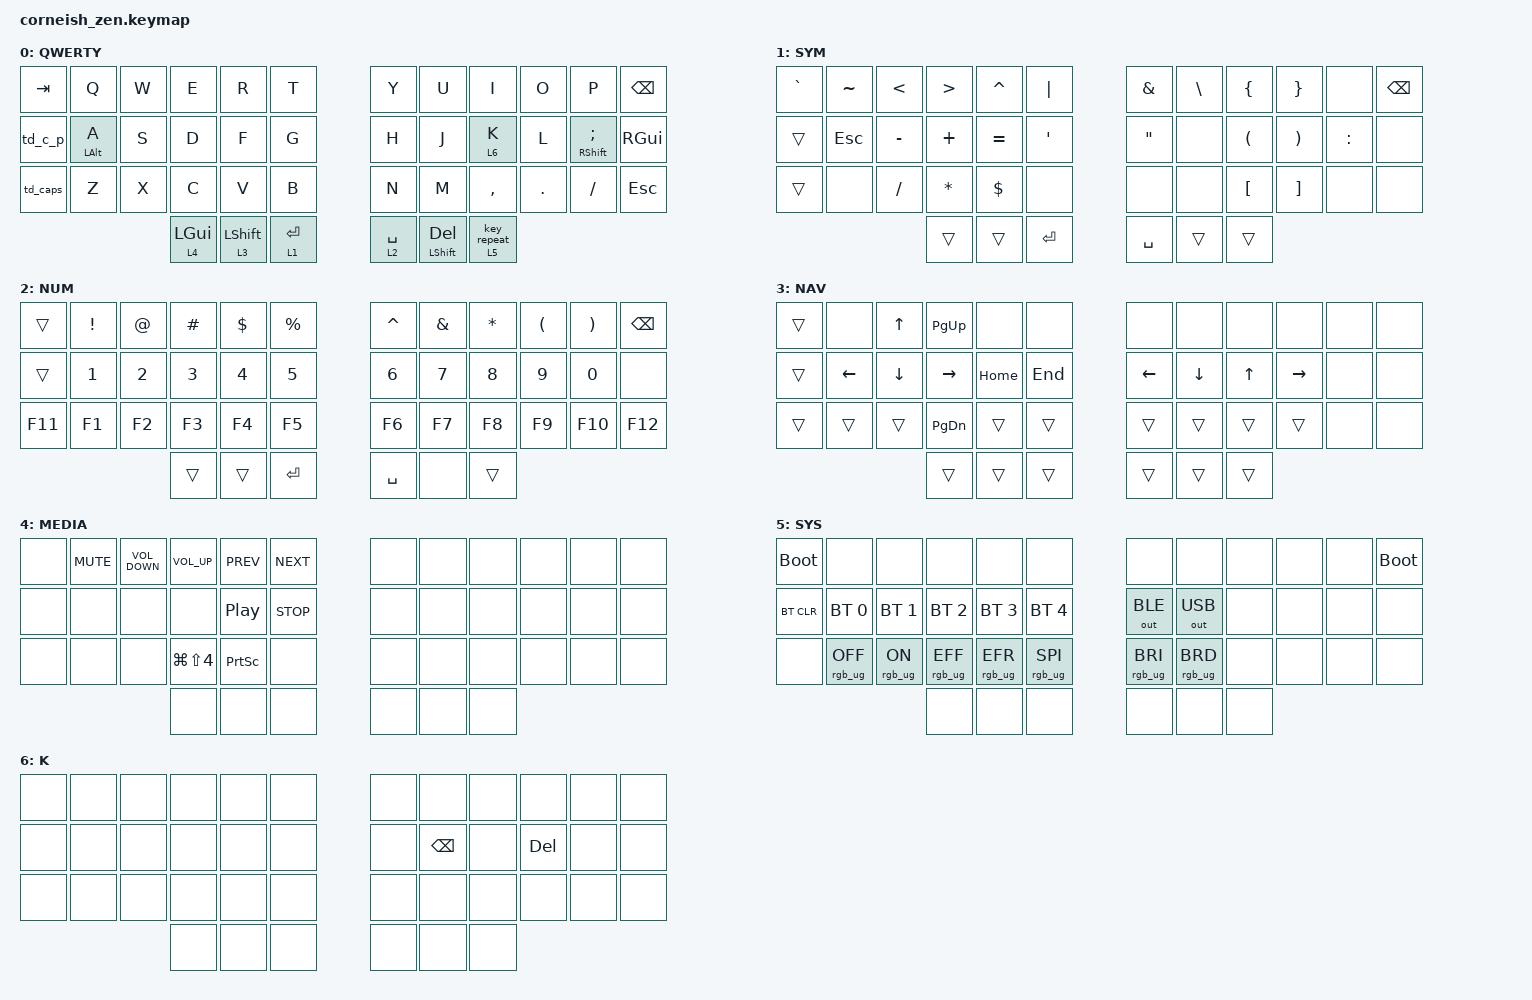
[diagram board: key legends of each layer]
/*
 * Copyright (c) 2020 The ZMK Contributors
 *
 * SPDX-License-Identifier: MIT
 */

#include <behaviors.dtsi>
#include <dt-bindings/zmk/bt.h>
#include <dt-bindings/zmk/keys.h>
#include <dt-bindings/zmk/outputs.h>
#include <dt-bindings/zmk/rgb.h>

/ {
    chosen {
        zmk,matrix_transform = &default_transform;

        // zmk,matrix_transform = &five_column_transform;
    };
};

/ {
    behaviors {
        td_caps: td_caps {
            compatible = "zmk,behavior-tap-dance";
            label = "TD_CAPS";
            #binding-cells = <0>;
            bindings = <&kp LSHIFT>, <&snake_caps_word>, <&kp CAPS>;
        };

        td_c_p: td_c_p {
            compatible = "zmk,behavior-tap-dance";
            label = "TD_C_P";
            #binding-cells = <0>;
            bindings = <&mt LCTRL ESC>, <&kp LG(C)>, <&kp LG(V)>;
        };

        snake_caps_word: snake_caps_word {
            compatible = "zmk,behavior-caps-word";
            label = "SNAKE_CAPS_WORD";
            #binding-cells = <0>;
            continue-list = <UNDER MINUS SPACE DELETE BACKSPACE>;
        };

        htrl: htrl {
            compatible = "zmk,behavior-hold-tap";
            label = "HTRL";
            bindings = <&mo>, <&key_repeat>;

            #binding-cells = <2>;
            tapping-term-ms = <200>;
        };
    };

    combos {
        compatible = "zmk,combos";

        gh_dash {
            bindings = <&kp MINUS>;
            key-positions = <17 18>;
            layers = <0>;
        };

        bn_underscore {
            bindings = <&kp UNDER>;
            key-positions = <28 31>;
        };

        ty_caps_word {
            bindings = <&caps_word>;
            key-positions = <4 7>;
        };

        sd_d_equals {
            bindings = <&d_equals>;
            key-positions = <13 14>;
        };

        se_g_equals {
            bindings = <&g_equals>;
            key-positions = <13 2>;
        };

        sc_l_equals {
            bindings = <&l_equals>;
            key-positions = <13 26>;
        };

        tltr_sleep {
            bindings = <&kp C_SLEEP>;
            key-positions = <0 11>;
        };
    };

    macros {
        d_equals: d_equals {
            compatible = "zmk,behavior-macro";
            #binding-cells = <0>;
            bindings = <&kp EQUAL &kp EQUAL>;
            label = "D_EQUALS";
        };

        g_equals: g_equals {
            compatible = "zmk,behavior-macro";
            #binding-cells = <0>;
            bindings = <&kp GT &kp EQUAL>;
            label = "G_EQUALS";
        };

        l_equals: l_equals {
            compatible = "zmk,behavior-macro";
            #binding-cells = <0>;
            bindings = <&kp LT &kp EQUAL>;
            label = "L_EQUALS";
        };
    };

    keymap {
        compatible = "zmk,keymap";

        default_layer {
            display-name = "QWERTY";

            // --------------------------------------------------------------------------------
            // |  TAB |  Q  |  W  |  E  |  R  |  T  |   |  Y  |  U   |  I  |  O  |  P  | BKSP |
            // | CTRL |  A  |  S  |  D  |  F  |  G  |   |  H  |  J   |  K  |  L  |  ;  |  '   | 
            // | SHFT |  Z  |  X  |  C  |  V  |  B  |   |  N  |  M   |  ,  |  .  |  /  | ESC  |
            //                    | GUI | LWR | SPC |   | ENT | RSE  | ALT |

            bindings = <
&kp TAB   &kp Q           &kp W  &kp E           &kp R             &kp T          &kp Y        &kp U              &kp I      &kp O    &kp P                 &kp BSPC
&td_c_p   &mt LEFT_ALT A  &kp S  &kp D           &kp F             &kp G          &kp H        &kp J              &lt 6 K    &kp L    &mt RIGHT_SHIFT SEMI  &kp RIGHT_GUI
&td_caps  &kp Z           &kp X  &kp C           &kp V             &kp B          &kp N        &kp M              &kp COMMA  &kp DOT  &kp FSLH              &kp ESC
                                 &lt 4 LEFT_GUI  &lt 3 LEFT_SHIFT  &lt 1 ENTER    &lt 2 SPACE  &mt LSHIFT DELETE  &htrl 5 0
            >;
        };

        symbols_layer {
            display-name = "SYM";

            // -----------------------------------------------------------------------------------------
            // |  TAB |  !  |  @  |  #  |  $  |  %  |   |  ^  |  &  |  *  |  (  |  )  | BKSP |
            // | CTRL |     |     |     |     |     |   |  -  |  =  |  [  |  ]  |  \  |  `   |
            // | SHFT |     |     |     |     |     |   |  _  |  +  |  {  |  }  | "|" |  ~   |
            //                    | GUI |     | SPC |   | ENT |     | ALT |

            bindings = <
&kp GRAVE  &kp TILDE  &kp LT     &kp GT    &kp CARET  &kp PIPE     &kp AMPS   &kp BSLH  &kp LBRC  &kp RBRC  &none      &kp BSPC
&trans     &kp ESC    &kp MINUS  &kp PLUS  &kp EQUAL  &kp SQT      &kp DQT    &none     &kp LPAR  &kp RPAR  &kp COLON  &none
&trans     &none      &kp FSLH   &kp STAR  &kp DLLR   &none        &none      &none     &kp LBKT  &kp RBKT  &none      &none
                                 &trans    &trans     &kp ENTER    &kp SPACE  &trans    &trans
            >;
        };

        numbers_layer {
            display-name = "NUM";

            // -----------------------------------------------------------------------------------------
            // |  TAB |  1  |  2  |  3  |  4  |  5  |   |  6  |  7  |  8  |  9  |  0  | BKSP |
            // | BTCLR| BT1 | BT2 | BT3 | BT4 | BT5 |   | LFT | DWN |  UP | RGT |     |      |
            // | SHFT |     |     |     |     |     |   |     |     |     |     |     |      |
            //                    | GUI |     | SPC |   | ENT |     | ALT |

            bindings = <
&trans   &kp EXCL  &kp AT  &kp HASH  &kp DLLR  &kp PRCNT    &kp CARET  &kp AMPS  &kp STAR  &kp LPAR  &kp RPAR  &kp BSPC
&trans   &kp N1    &kp N2  &kp N3    &kp N4    &kp N5       &kp N6     &kp N7    &kp N8    &kp N9    &kp N0    &none
&kp F11  &kp F1    &kp F2  &kp F3    &kp F4    &kp F5       &kp F6     &kp F7    &kp F8    &kp F9    &kp F10   &kp F12
                           &trans    &trans    &kp ENTER    &kp SPACE  &none     &trans
            >;
        };

        navigation_layer {
            display-name = "NAV";
            bindings = <
&trans  &none     &kp UP    &kp PG_UP  &none     &none      &none     &none     &none   &none      &none  &none
&trans  &kp LEFT  &kp DOWN  &kp RIGHT  &kp HOME  &kp END    &kp LEFT  &kp DOWN  &kp UP  &kp RIGHT  &none  &none
&trans  &trans    &trans    &kp PG_DN  &trans    &trans     &trans    &trans    &trans  &trans     &none  &none
                            &trans     &trans    &trans     &trans    &trans    &trans
            >;
        };

        media_layer {
            bindings = <
&none  &kp K_MUTE  &kp C_VOLUME_DOWN  &kp C_VOLUME_UP       &kp C_PREV        &kp C_NEXT    &none  &none  &none  &none  &none  &none
&none  &none       &none              &none                 &kp C_PLAY_PAUSE  &kp C_STOP    &none  &none  &none  &none  &none  &none
&none  &none       &none              &kp LG(LS(NUMBER_4))  &kp PRINTSCREEN   &none         &none  &none  &none  &none  &none  &none
                                      &none                 &none             &none         &none  &none  &none
            >;

            label = "MEDIA";
        };

        system_layer {
            bindings = <
&bootloader  &none            &none           &none            &none            &none              &none            &none            &none  &none  &none  &bootloader
&bt BT_CLR   &bt BT_SEL 0     &bt BT_SEL 1    &bt BT_SEL 2     &bt BT_SEL 3     &bt BT_SEL 4       &out OUT_BLE     &out OUT_USB     &none  &none  &none  &none
&none        &rgb_ug RGB_OFF  &rgb_ug RGB_ON  &rgb_ug RGB_EFF  &rgb_ug RGB_EFR  &rgb_ug RGB_SPI    &rgb_ug RGB_BRI  &rgb_ug RGB_BRD  &none  &none  &none  &none
                                              &none            &none            &none              &none            &none            &none
            >;

            label = "SYS";
        };

        k_layer {
            bindings = <
&none  &none  &none  &none  &none  &none    &none  &none          &none  &none       &none  &none
&none  &none  &none  &none  &none  &none    &none  &kp BACKSPACE  &none  &kp DELETE  &none  &none
&none  &none  &none  &none  &none  &none    &none  &none          &none  &none       &none  &none
                     &none  &none  &none    &none  &none          &none
            >;

            label = "K";
        };
    };
};
